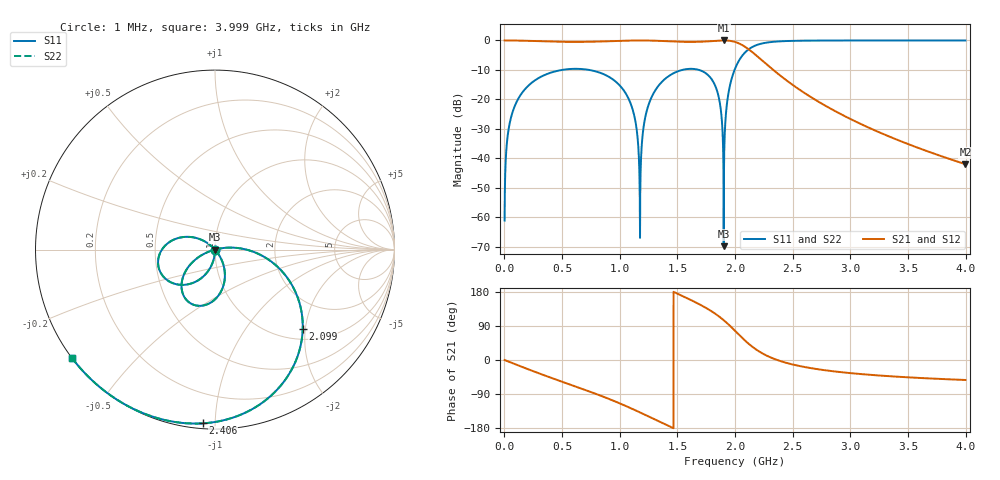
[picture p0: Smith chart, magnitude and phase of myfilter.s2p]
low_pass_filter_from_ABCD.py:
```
#
# Plot the response of a Low-Pass Filter S-Parameters
#
# S.F. Peik 2021
#
# We build up a common lowpass in ladder structure with
#
#  o--o--(((--o--(((--o--o
#     |       |       |
#    ===     ===     ===
#     |       |       |
#    ---     ---     ___
#

import mwave as mw
from numpy import *

### Set values according to filter theory ######
### Using G-values for Chebychev filter with 0.5 dB Ripple
### and corner freq fc
Z0 = 50.0 ## ref. Port Impedanace
fc = 2e9 # corner frequency
wc = 2*pi*fc
C1 = 1.7058 / wc / Z0
L2 = 1.2296/ wc * Z0
C3 = 2.5409/ wc / Z0
L4 = L2
C5 = C1

mw.hello()
f = arange(1e6,4e9,1e6)
w = 2 * pi * f
ABCD1 = mw.ABCDshunt(1j * w * C1)  # add a shunt capacitor
ABCD2 = mw.ABCDseries(1j * w * L2)  # ad a series inductor
ABCD3 = mw.ABCDshunt(1j * w * C3)  # add a shunt capacitor
ABCD4 = mw.ABCDseries(1j * w * L4)  # ad a series inductor
ABCD5 = mw.ABCDshunt(1j * w * C5)  # add a shunt capacitor
ABCD = mw.cascade([ABCD1, ABCD2, ABCD3, ABCD4, ABCD5])  # Cascade the five networks
S = mw.ABCDtoS(ABCD,Z0)
fig, ax = mw.plotspar(f,S)
ax.set_ylim(-30,2)
fig.show()
mw.save_touchstone("myfilter.s2p",f,S)
```
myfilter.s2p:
! Export of Touchstone Data from mwave.py Module Author: S.F. Peik
!Touchstone file created by python mwave
! symbol freq-unit parameter-type data-format keyword impedance-ohm
#  HZ  S  RI  R  50
! freq  reS11  imS11  reS21  imS21  reS12  imS12  reS22  imS22
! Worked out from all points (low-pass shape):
!   3999 points, 1 MHz to 3.999 GHz, reference 50 ohm
!   highest |S21| = 0.00 dB at 1.902 GHz (marker M1); lowest = -42.0 dB at 3.999 GHz (marker M2)
!   |S21| within 3 dB of the highest: start of sweep to 2.118 GHz
!   lowest |S11| = -69.9 dB at 1.902 GHz (marker M3), VSWR 1.00, Z = 50 - j0.00831 ohm
!   |S11| at or under -10 dB: start of sweep to 501.4 MHz; 732.4 MHz to 1.544 GHz (811.3 MHz wide, 71.3 % of centre); 1.686 GHz to 1.996 GHz (309.9 MHz wide, 16.8 % of centre)
!   |S22| runs from -69.9 to 0.0 dB; largest |S21 - S12| = 0
!   S11 on the Smith chart (normalised r, x): 1 MHz: 1.00, -0.00; 2.099 GHz: 1.25, -1.93; 2.406 GHz: 0.03, -0.93; 3.999 GHz: 0.00, -0.34
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1000000  -1.84e-06 -0.000873  1 -0.0021  1 -0.0021  -1.84e-06 -0.000873
9.4e7  -0.0159 -0.0795  0.9774 -0.1953  0.9774 -0.1953  -0.0159 -0.0795
4.51e8  -0.2384 -0.1857  0.5859 -0.7519  0.5859 -0.7519  -0.2384 -0.1857
1.004e9  -0.1529 0.0712  -0.4161 -0.8935  -0.4161 -0.8935  -0.1529 0.0712
1.176e9  0.000294 -0.000331  -0.7472 -0.6646  -0.7472 -0.6646  0.000294 -0.000331
1.707e9  -0.1781 -0.249  -0.7743 0.5539  -0.7743 0.5539  -0.1781 -0.249
1.902e9  -0.000309 -8.32e-05  -0.2595 0.9657  -0.2595 0.9657  -0.000309 -8.32e-05
2e9  0.3216 -0.0728  0.2084 0.9208  0.2084 0.9208  0.3216 -0.0728
2.099e9  0.4888 -0.4401  0.504 0.5597  0.504 0.5597  0.4888 -0.4401
2.406e9  -0.068 -0.968  0.2408 -0.0169  0.2408 -0.0169  -0.068 -0.968
3.999e9  -0.7957 -0.6057  0.0048 -0.0063  0.0048 -0.0063  -0.7957 -0.6057
